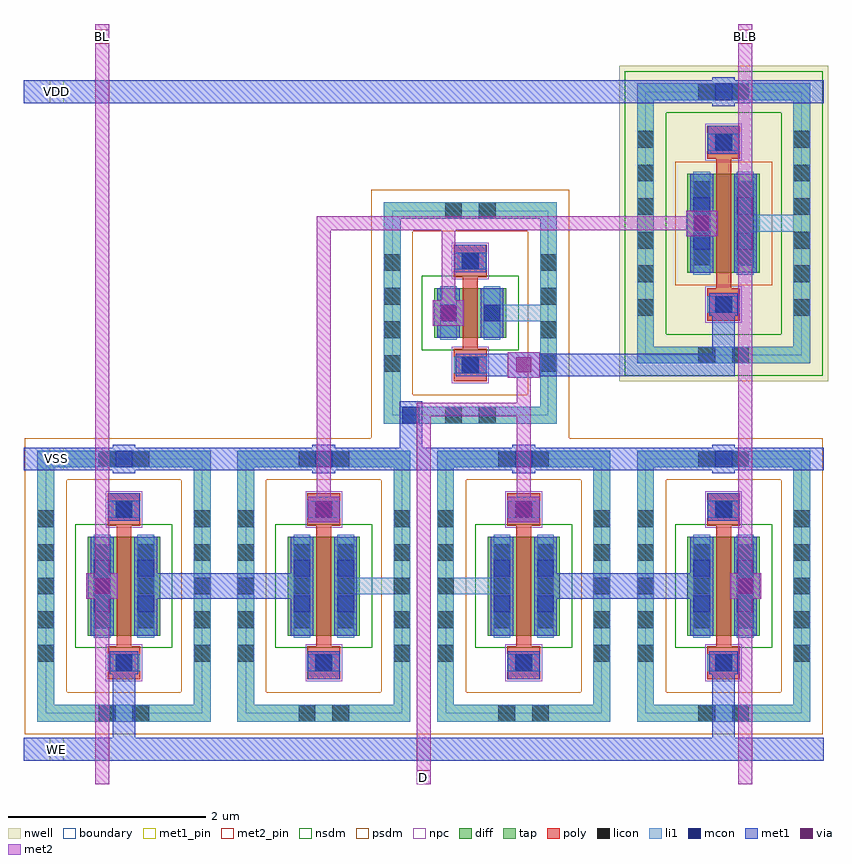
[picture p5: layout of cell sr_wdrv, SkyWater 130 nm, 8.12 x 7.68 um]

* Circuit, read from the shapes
.subckt sr_wdrv BL BLB D VDD VSS WE
XM1 sky130_fd_pr__nfet_01v8_34VMYE_4/D WE BL VSS sky130_fd_pr__nfet_01v8 w=1 l=0.15
XM2 VSS sky130_fd_pr__nfet_01v8_PHAC7Z_1/D sky130_fd_pr__nfet_01v8_34VMYE_4/D VSS sky130_fd_pr__nfet_01v8 w=1 l=0.15
XM3 VSS D sky130_fd_pr__nfet_01v8_PHAC7Z_1/D VSS sky130_fd_pr__nfet_01v8 w=0.5 l=0.15
XM4 sky130_fd_pr__nfet_01v8_34VMYE_3/D D VSS VSS sky130_fd_pr__nfet_01v8 w=1 l=0.15
XM5 BLB WE sky130_fd_pr__nfet_01v8_34VMYE_3/D VSS sky130_fd_pr__nfet_01v8 w=1 l=0.15
XM6 VDD D sky130_fd_pr__nfet_01v8_PHAC7Z_1/D VDD sky130_fd_pr__pfet_01v8 w=1 l=0.15
.ends

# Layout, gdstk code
from math import pi, radians
import gdstk
lib = gdstk.Library(unit=1e-6, precision=1e-09)
def R(c, l, rs):  # rectangles x0, y0, x1, y1
    for r in rs: c.add(gdstk.rectangle(r[:2], r[2:], *l))
def A(c, l, x, y, w, h, nx, ny, dx, dy):  # array of equal rectangles
    R(c, l, [(x+i*dx, y+j*dy, x+i*dx+w, y+j*dy+h) for i in range(nx) for j in range(ny)])
nwell = (64, 20)
diff = (65, 20)
tap = (65, 44)
poly = (66, 20)
licon = (66, 44)
li1 = (67, 20)
mcon = (67, 44)
met1_pin = (68, 16)
met1 = (68, 20)
via = (68, 44)
met2_pin = (69, 16)
met2 = (69, 20)
nsdm = (93, 44)
psdm = (94, 20)
npc = (95, 20)
boundary = (235, 4)

sky130_fd_pr__pfet_01v8_ = lib.new_cell('sky130_fd_pr__pfet_01v8_7HN6Y2')
R(sky130_fd_pr__pfet_01v8_, nwell, [(-1.055,-1.595,1.055,1.595)])
R(sky130_fd_pr__pfet_01v8_, diff, [(-0.365,-0.5,0.365,0.5)])
R(sky130_fd_pr__pfet_01v8_, tap, [(-0.875,-1.415,0.875,-1.245), (-0.875,-1.245,-0.705,1.245), (0.705,-1.245,0.875,1.245), (-0.875,1.245,0.875,1.415)])
R(sky130_fd_pr__pfet_01v8_, poly, [(-0.165,-0.985,0.165,-0.655), (-0.075,-0.655,0.075,0.655), (-0.165,0.655,0.165,0.985)])
A(sky130_fd_pr__pfet_01v8_, licon, -0.875, -0.935, 0.17, 0.17, 1, 6, 0, 0.34)
A(sky130_fd_pr__pfet_01v8_, licon, 0.705, -0.935, 0.17, 0.17, 1, 6, 0, 0.34)
A(sky130_fd_pr__pfet_01v8_, licon, -0.305, -0.425, 0.17, 0.17, 1, 3, 0, 0.34)
A(sky130_fd_pr__pfet_01v8_, licon, 0.135, -0.425, 0.17, 0.17, 1, 3, 0, 0.34)
R(sky130_fd_pr__pfet_01v8_, licon, [(-0.255,-1.415,-0.085,-1.245), (0.085,-1.415,0.255,-1.245), (-0.085,-0.905,0.085,-0.735), (-0.085,0.735,0.085,0.905), (-0.255,1.245,-0.085,1.415), (0.085,1.245,0.255,1.415)])
R(sky130_fd_pr__pfet_01v8_, li1, [(-0.875,-1.415,0.875,-1.245), (-0.875,-1.245,-0.705,1.245), (0.705,-1.245,0.875,1.245), (-0.165,-0.905,0.165,-0.735), (-0.305,-0.52,-0.135,0.52), (0.135,-0.52,0.305,0.52), (-0.165,0.735,0.165,0.905), (-0.875,1.245,0.875,1.415)])
R(sky130_fd_pr__pfet_01v8_, mcon, [(-0.085,-0.905,0.085,-0.735), (-0.305,-0.265,-0.135,-0.095), (0.135,-0.265,0.305,-0.095), (-0.305,0.095,-0.135,0.265), (0.135,0.095,0.305,0.265), (-0.085,0.735,0.085,0.905)])
R(sky130_fd_pr__pfet_01v8_, met1, [(-0.145,-0.935,0.145,-0.705), (-0.335,-0.5,-0.105,0.5), (0.105,-0.5,0.335,0.5), (-0.145,0.705,0.145,0.935)])
R(sky130_fd_pr__pfet_01v8_, nsdm, [(-1,-1.54,1,-1.12), (-1,-1.12,-0.58,1.12), (0.58,-1.12,1,1.12), (-1,1.12,1,1.54)])
R(sky130_fd_pr__pfet_01v8_, psdm, [(-0.49,-0.625,0.49,0.625)])
R(sky130_fd_pr__pfet_01v8_, npc, [(-0.185,-1.005,0.185,-0.635), (-0.185,0.635,0.185,1.005)])
R(sky130_fd_pr__pfet_01v8_, boundary, [(-0.79,-1.33,0.79,1.33)])
sky130_fd_pr__pfet_01v8_.add(gdstk.Label('B', (0,-1.33), layer=67, texttype=5))
sky130_fd_pr__pfet_01v8_.add(gdstk.Label('D', (-0.22,0), layer=67, texttype=5))
sky130_fd_pr__pfet_01v8_.add(gdstk.Label('S', (0.22,0), layer=67, texttype=5))
sky130_fd_pr__pfet_01v8_.add(gdstk.Label('G', (0,0.82), layer=67, texttype=5))

sky130_fd_pr__nfet_01v8_ = lib.new_cell('sky130_fd_pr__nfet_01v8_PHAC7Z')
R(sky130_fd_pr__nfet_01v8_, diff, [(-0.365,-0.25,0.365,0.25)])
R(sky130_fd_pr__nfet_01v8_, tap, [(-0.875,-1.12,0.875,-0.95), (-0.875,-0.95,-0.705,0.95), (0.705,-0.95,0.875,0.95), (-0.875,0.95,0.875,1.12)])
R(sky130_fd_pr__nfet_01v8_, poly, [(-0.165,-0.69,0.165,-0.36), (-0.075,-0.36,0.075,0.36), (-0.165,0.36,0.165,0.69)])
A(sky130_fd_pr__nfet_01v8_, licon, -0.875, -0.595, 0.17, 0.17, 1, 4, 0, 0.34)
A(sky130_fd_pr__nfet_01v8_, licon, 0.705, -0.595, 0.17, 0.17, 1, 4, 0, 0.34)
R(sky130_fd_pr__nfet_01v8_, licon, [(-0.255,-1.12,-0.085,-0.95), (0.085,-1.12,0.255,-0.95), (-0.085,-0.61,0.085,-0.44), (-0.305,-0.085,-0.135,0.085), (0.135,-0.085,0.305,0.085), (-0.085,0.44,0.085,0.61), (-0.255,0.95,-0.085,1.12), (0.085,0.95,0.255,1.12)])
R(sky130_fd_pr__nfet_01v8_, li1, [(-0.875,-1.12,0.875,-0.95), (-0.875,-0.95,-0.705,0.95), (0.705,-0.95,0.875,0.95), (-0.165,-0.61,0.165,-0.44), (-0.305,-0.27,-0.135,0.27), (0.135,-0.27,0.305,0.27), (-0.165,0.44,0.165,0.61), (-0.875,0.95,0.875,1.12)])
R(sky130_fd_pr__nfet_01v8_, mcon, [(-0.085,-0.61,0.085,-0.44), (-0.305,-0.085,-0.135,0.085), (0.135,-0.085,0.305,0.085), (-0.085,0.44,0.085,0.61)])
R(sky130_fd_pr__nfet_01v8_, met1, [(-0.145,-0.64,0.145,-0.41), (-0.335,-0.25,-0.105,0.25), (0.105,-0.25,0.335,0.25), (-0.145,0.41,0.145,0.64)])
R(sky130_fd_pr__nfet_01v8_, nsdm, [(-0.49,-0.375,0.49,0.375)])
R(sky130_fd_pr__nfet_01v8_, psdm, [(-1,-1.245,1,-0.825), (-1,-0.825,-0.58,0.825), (0.58,-0.825,1,0.825), (-1,0.825,1,1.245)])
R(sky130_fd_pr__nfet_01v8_, npc, [(-0.185,-0.71,0.185,-0.34), (-0.185,0.34,0.185,0.71)])
R(sky130_fd_pr__nfet_01v8_, boundary, [(-0.79,-1.035,0.79,1.035)])
sky130_fd_pr__nfet_01v8_.add(gdstk.Label('B', (0,-1.035), layer=67, texttype=5))
sky130_fd_pr__nfet_01v8_.add(gdstk.Label('D', (-0.22,0), layer=67, texttype=5))
sky130_fd_pr__nfet_01v8_.add(gdstk.Label('S', (0.22,0), layer=67, texttype=5))
sky130_fd_pr__nfet_01v8_.add(gdstk.Label('G', (0,0.525), layer=67, texttype=5))

c_sky130_fd_pr__nfet_01v8_ = lib.new_cell('sky130_fd_pr__nfet_01v8_34VMYE')
R(c_sky130_fd_pr__nfet_01v8_, diff, [(-0.365,-0.5,0.365,0.5)])
R(c_sky130_fd_pr__nfet_01v8_, tap, [(-0.875,-1.37,0.875,-1.2), (-0.875,-1.2,-0.705,1.2), (0.705,-1.2,0.875,1.2), (-0.875,1.2,0.875,1.37)])
R(c_sky130_fd_pr__nfet_01v8_, poly, [(-0.165,-0.94,0.165,-0.61), (-0.075,-0.61,0.075,0.61), (-0.165,0.61,0.165,0.94)])
A(c_sky130_fd_pr__nfet_01v8_, licon, -0.875, -0.765, 0.17, 0.17, 1, 5, 0, 0.34)
A(c_sky130_fd_pr__nfet_01v8_, licon, 0.705, -0.765, 0.17, 0.17, 1, 5, 0, 0.34)
A(c_sky130_fd_pr__nfet_01v8_, licon, -0.305, -0.425, 0.17, 0.17, 1, 3, 0, 0.34)
A(c_sky130_fd_pr__nfet_01v8_, licon, 0.135, -0.425, 0.17, 0.17, 1, 3, 0, 0.34)
R(c_sky130_fd_pr__nfet_01v8_, licon, [(-0.255,-1.37,-0.085,-1.2), (0.085,-1.37,0.255,-1.2), (-0.085,-0.86,0.085,-0.69), (-0.085,0.69,0.085,0.86), (-0.255,1.2,-0.085,1.37), (0.085,1.2,0.255,1.37)])
R(c_sky130_fd_pr__nfet_01v8_, li1, [(-0.875,-1.37,0.875,-1.2), (-0.875,-1.2,-0.705,1.2), (0.705,-1.2,0.875,1.2), (-0.165,-0.86,0.165,-0.69), (-0.305,-0.52,-0.135,0.52), (0.135,-0.52,0.305,0.52), (-0.165,0.69,0.165,0.86), (-0.875,1.2,0.875,1.37)])
R(c_sky130_fd_pr__nfet_01v8_, mcon, [(-0.085,-0.86,0.085,-0.69), (-0.305,-0.265,-0.135,-0.095), (0.135,-0.265,0.305,-0.095), (-0.305,0.095,-0.135,0.265), (0.135,0.095,0.305,0.265), (-0.085,0.69,0.085,0.86)])
R(c_sky130_fd_pr__nfet_01v8_, met1, [(-0.145,-0.89,0.145,-0.66), (-0.335,-0.5,-0.105,0.5), (0.105,-0.5,0.335,0.5), (-0.145,0.66,0.145,0.89)])
R(c_sky130_fd_pr__nfet_01v8_, nsdm, [(-0.49,-0.625,0.49,0.625)])
R(c_sky130_fd_pr__nfet_01v8_, psdm, [(-1,-1.495,1,-1.075), (-1,-1.075,-0.58,1.075), (0.58,-1.075,1,1.075), (-1,1.075,1,1.495)])
R(c_sky130_fd_pr__nfet_01v8_, npc, [(-0.185,-0.96,0.185,-0.59), (-0.185,0.59,0.185,0.96)])
R(c_sky130_fd_pr__nfet_01v8_, boundary, [(-0.79,-1.285,0.79,1.285)])
c_sky130_fd_pr__nfet_01v8_.add(gdstk.Label('B', (0,-1.285), layer=67, texttype=5))
c_sky130_fd_pr__nfet_01v8_.add(gdstk.Label('D', (-0.22,0), layer=67, texttype=5))
c_sky130_fd_pr__nfet_01v8_.add(gdstk.Label('S', (0.22,0), layer=67, texttype=5))
c_sky130_fd_pr__nfet_01v8_.add(gdstk.Label('G', (0,0.775), layer=67, texttype=5))

sr_wdrv = lib.new_cell('sr_wdrv')
A(sr_wdrv, li1, -0.085, 1.2, 0.17, 0.17, 4, 1, 2.02, 0)
R(sr_wdrv, li1, [(2.24,-0.085,2.795,0.085), (3.265,-0.085,3.82,0.085), (2.815,1.64,2.985,1.81), (3.72,2.675,4.275,2.845), (6.28,3.58,6.835,3.75), (5.975,4.91,6.145,5.08)])
A(sr_wdrv, mcon, -0.085, 1.2, 0.17, 0.17, 4, 1, 2.02, 0)
R(sr_wdrv, mcon, [(2.815,1.64,2.985,1.81), (5.975,4.91,6.145,5.08)])
R(sr_wdrv, met1_pin, [(-0.75,-1.765,-0.61,-1.535), (-0.75,1.17,-0.61,1.4), (-0.75,4.88,-0.61,5.11)])
A(sr_wdrv, met1, -0.115, 1.14, 0.23, 0.03, 4, 2, 2.02, 0.26)
R(sr_wdrv, met1, [(-1.01,-1.765,7.07,-1.535), (-0.115,-1.535,0.115,-0.66), (5.945,-1.535,6.175,-0.66), (1.86,-0.94,2.18,-0.66), (3.88,-0.94,4.2,-0.66), (-0.38,-0.13,-0.06,0.13), (0.105,-0.13,1.915,0.13), (4.145,-0.13,5.955,0.13), (6.12,-0.13,6.44,0.13), (1.86,0.645,2.18,0.905), (3.88,0.645,4.2,0.905), (-0.16,0.66,0.16,0.94), (5.9,0.66,6.22,0.94), (-1.01,1.17,7.07,1.4), (2.785,1.4,3.015,1.87), (3.88,2.105,4.2,2.12), (3.385,2.12,6.175,2.35), (3.88,2.35,4.2,2.365), (5.945,2.35,6.175,2.96), (3.12,2.63,3.44,2.89), (3.34,3.17,3.66,3.45), (5.68,3.535,6,3.795), (5.9,4.37,6.22,4.65), (5.945,4.85,6.175,4.88), (-1.01,4.88,7.07,5.11), (5.945,5.11,6.175,5.14)])
R(sr_wdrv, via, [(-0.295,-0.075,-0.145,0.075), (6.205,-0.075,6.355,0.075), (1.945,0.7,2.095,0.85), (3.965,0.7,4.115,0.85), (3.965,2.16,4.115,2.31), (3.205,2.685,3.355,2.835), (5.765,3.59,5.915,3.74)])
R(sr_wdrv, met2_pin, [(2.96,-2,3.1,-1.86), (-0.29,5.48,-0.15,5.62), (6.21,5.48,6.35,5.62)])
R(sr_wdrv, met2, [(-0.29,-2,-0.15,-0.13), (2.96,-2,3.1,1.715), (6.21,-2,6.35,-0.13), (-0.38,-0.13,-0.06,0.13), (6.12,-0.13,6.44,0.13), (-0.29,0.13,-0.15,5.68), (6.21,0.13,6.35,5.68), (1.86,0.645,2.18,0.905), (3.88,0.645,4.2,0.905), (1.95,0.905,2.09,3.595), (3.97,0.905,4.11,1.715), (2.96,1.715,4.11,1.855), (3.97,1.855,4.11,2.105), (3.88,2.105,4.2,2.365), (3.12,2.63,3.44,2.89), (3.21,2.89,3.35,3.595), (5.68,3.535,6,3.595), (1.95,3.595,6,3.735), (5.68,3.735,6,3.795)])
A(sr_wdrv, psdm, 1, -1.495, 0.02, 2.99, 3, 1, 2.02, 0)
R(sr_wdrv, psdm, [(2.5,1.495,4.5,1.515)])
sr_wdrv.add(gdstk.Reference(sky130_fd_pr__pfet_01v8_, (6.06,3.665)))
sr_wdrv.add(gdstk.Reference(sky130_fd_pr__nfet_01v8_, (3.5,2.76)))
sr_wdrv.add(gdstk.Reference(c_sky130_fd_pr__nfet_01v8_, (6.06,0), rotation=pi, x_reflection=True))
sr_wdrv.add(gdstk.Reference(c_sky130_fd_pr__nfet_01v8_, (4.04,0), rotation=pi, x_reflection=True))
sr_wdrv.add(gdstk.Reference(c_sky130_fd_pr__nfet_01v8_, (2.02,0)))
sr_wdrv.add(gdstk.Reference(c_sky130_fd_pr__nfet_01v8_, (0,0)))
sr_wdrv.add(gdstk.Label('BL', (-0.22,5.55), layer=69, texttype=5))
sr_wdrv.add(gdstk.Label('BLB', (6.28,5.55), layer=69, texttype=5))
sr_wdrv.add(gdstk.Label('WE', (-0.68,-1.65), layer=68, texttype=5))
sr_wdrv.add(gdstk.Label('D', (3.03,-1.93), layer=69, texttype=5))
sr_wdrv.add(gdstk.Label('VSS', (-0.68,1.285), layer=68, texttype=5))
sr_wdrv.add(gdstk.Label('VDD', (-0.68,4.995), layer=68, texttype=5))

lib.write_gds('sr_wdrv.gds')
